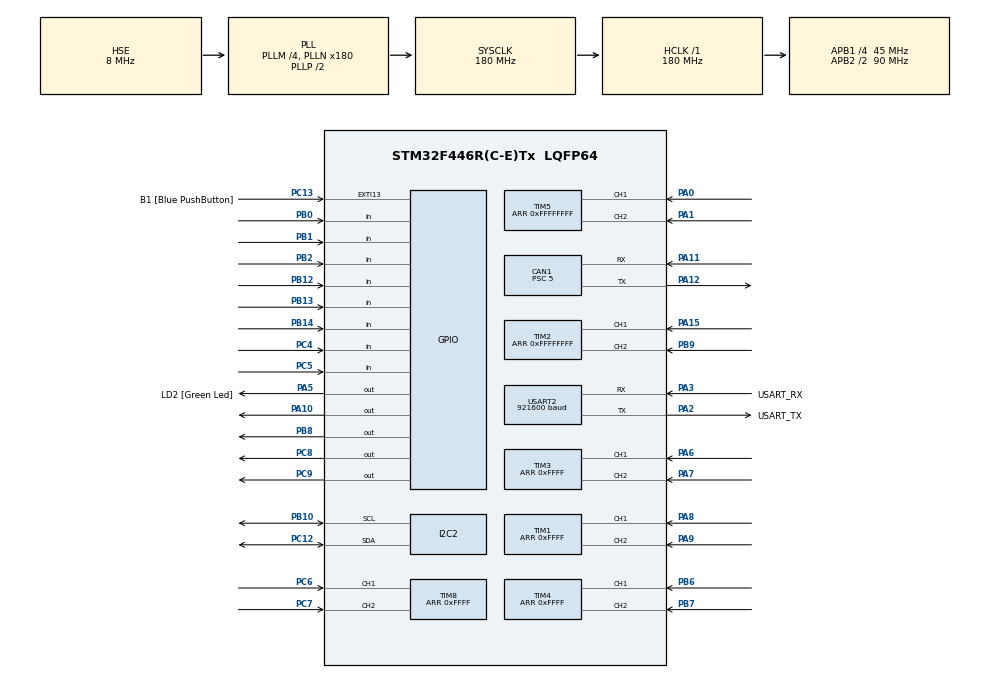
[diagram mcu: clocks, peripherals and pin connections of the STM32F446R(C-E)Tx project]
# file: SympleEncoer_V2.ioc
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CAN1.ABOM=ENABLE
CAN1.BS1=CAN_BS1_7TQ
CAN1.CalculateTimeQuantum=111.11111111111111
CAN1.Prescaler=5
CAN1.TXFP=ENABLE
Dma.I2C2_RX.0.Direction=DMA_PERIPH_TO_MEMORY
Dma.I2C2_RX.0.FIFOMode=DMA_FIFOMODE_DISABLE
Dma.I2C2_RX.0.Instance=DMA1_Stream2
Dma.I2C2_RX.0.MemDataAlignment=DMA_MDATAALIGN_BYTE
Dma.I2C2_RX.0.MemInc=DMA_MINC_ENABLE
Dma.I2C2_RX.0.Mode=DMA_NORMAL
Dma.I2C2_RX.0.PeriphDataAlignment=DMA_PDATAALIGN_BYTE
Dma.I2C2_RX.0.PeriphInc=DMA_PINC_DISABLE
Dma.I2C2_RX.0.Priority=DMA_PRIORITY_LOW
Dma.Request0=I2C2_RX
I2C2.I2C_Mode=I2C_Fast
Mcu.Family=STM32F4
Mcu.Name=STM32F446R(C-E)Tx
Mcu.Package=LQFP64
NVIC.CAN1_RX0_IRQn=true\:0\:2\:true\:false\:true\:true\:true
NVIC.CAN1_RX1_IRQn=true\:0\:2\:false\:false\:true\:true\:true
NVIC.CAN1_SCE_IRQn=true\:0\:0\:false\:false\:true\:true\:true
NVIC.DMA1_Stream2_IRQn=true\:0\:0\:false\:false\:true\:false\:true
NVIC.I2C2_ER_IRQn=true\:0\:0\:false\:false\:true\:true\:true
NVIC.I2C2_EV_IRQn=true\:0\:3\:false\:false\:true\:true\:true
NVIC.PriorityGroup=NVIC_PRIORITYGROUP_0
NVIC.TIM6_DAC_IRQn=true\:0\:0\:false\:false\:true\:true\:true
NVIC.TIM7_IRQn=true\:0\:0\:false\:false\:true\:true\:true
NVIC.USART2_IRQn=true\:0\:0\:false\:false\:true\:true\:true
PA0-WKUP.Signal=S_TIM5_CH1
PA1.Signal=S_TIM5_CH2
PA10.Signal=GPIO_Output
PA11.Mode=Master
PA11.Signal=CAN1_RX
PA12.Mode=Master
PA12.Signal=CAN1_TX
PA13.GPIO_Label=TMS
PA13.Mode=Serial_Wire
PA13.Signal=SYS_JTMS-SWDIO
PA14.GPIO_Label=TCK
PA14.Mode=Serial_Wire
PA14.Signal=SYS_JTCK-SWCLK
PA15.Signal=S_TIM2_CH1_ETR
PA2.GPIO_Label=USART_TX
PA2.Mode=Asynchronous
PA2.Signal=USART2_TX
PA3.GPIO_Label=USART_RX
PA3.Mode=Asynchronous
PA3.Signal=USART2_RX
PA5.GPIO_Label=LD2 [Green Led]
PA5.Signal=GPIO_Output
PA6.Signal=S_TIM3_CH1
PA7.Signal=S_TIM3_CH2
PA8.Signal=S_TIM1_CH1
PA9.Signal=S_TIM1_CH2
PB0.GPIO_PuPd=GPIO_PULLUP
PB0.Signal=GPIO_Input
PB1.GPIO_PuPd=GPIO_PULLUP
PB1.Signal=GPIO_Input
PB10.GPIO_PuPdOD=GPIO_NOPULL
PB10.Mode=I2C
PB10.Signal=I2C2_SCL
PB12.GPIO_PuPd=GPIO_PULLUP
PB12.Signal=GPIO_Input
PB13.GPIO_PuPd=GPIO_PULLUP
PB13.Signal=GPIO_Input
PB14.GPIO_PuPd=GPIO_PULLUP
PB14.Signal=GPIO_Input
PB2.GPIO_PuPd=GPIO_PULLUP
PB2.Signal=GPIO_Input
PB3.GPIO_Label=SWO
PB3.Signal=SYS_JTDO-SWO
PB6.Signal=S_TIM4_CH1
PB7.Signal=S_TIM4_CH2
PB8.Signal=GPIO_Output
PB9.Signal=S_TIM2_CH2
PC12.GPIO_PuPdOD=GPIO_NOPULL
PC12.Mode=I2C
PC12.Signal=I2C2_SDA
PC13.GPIO_Label=B1 [Blue PushButton]
PC13.GPIO_ModeDefaultEXTI=GPIO_MODE_IT_FALLING
PC13.Signal=GPXTI13
PC14-OSC32_IN.Mode=LSE-External-Oscillator
PC14-OSC32_IN.Signal=RCC_OSC32_IN
PC15-OSC32_OUT.Mode=LSE-External-Oscillator
PC15-OSC32_OUT.Signal=RCC_OSC32_OUT
PC4.GPIO_PuPd=GPIO_PULLUP
PC4.Signal=GPIO_Input
PC5.GPIO_PuPd=GPIO_PULLUP
PC5.Signal=GPIO_Input
PC6.Signal=S_TIM8_CH1
PC7.Signal=S_TIM8_CH2
PC8.Signal=GPIO_Output
PC9.Signal=GPIO_Output
PH0-OSC_IN.Mode=HSE-External-Oscillator
PH0-OSC_IN.Signal=RCC_OSC_IN
PH1-OSC_OUT.Mode=HSE-External-Oscillator
PH1-OSC_OUT.Signal=RCC_OSC_OUT
ProjectManager.HeapSize=0x200
ProjectManager.StackSize=0x400
ProjectManager.TargetToolchain=STM32CubeIDE
RCC.48MHZClocksFreq_Value=84000000
RCC.AHBFreq_Value=180000000
RCC.APB1CLKDivider=RCC_HCLK_DIV4
RCC.APB1Freq_Value=45000000
RCC.APB1TimFreq_Value=90000000
RCC.APB2CLKDivider=RCC_HCLK_DIV2
RCC.APB2Freq_Value=90000000
RCC.APB2TimFreq_Value=180000000
RCC.CortexFreq_Value=180000000
RCC.FLatency-AdvancedSettings=FLASH_LATENCY_5
RCC.HCLKFreq_Value=180000000
RCC.HSE_VALUE=8000000
RCC.HSI_VALUE=16000000
RCC.PLLM=4
RCC.PLLN=180
RCC.PLLSourceVirtual=RCC_PLLSOURCE_HSE
RCC.SYSCLKFreq_VALUE=180000000
RCC.SYSCLKSource=RCC_SYSCLKSOURCE_PLLCLK
RCC.USBFreq_Value=180000000
RCC.VCOOutputFreq_Value=360000000
SH.S_TIM1_CH1.0=TIM1_CH1,Encoder_Interface
SH.S_TIM1_CH2.0=TIM1_CH2,Encoder_Interface
SH.S_TIM2_CH1_ETR.0=TIM2_CH1,Encoder_Interface
SH.S_TIM2_CH2.0=TIM2_CH2,Encoder_Interface
SH.S_TIM3_CH1.0=TIM3_CH1,Encoder_Interface
SH.S_TIM3_CH2.0=TIM3_CH2,Encoder_Interface
SH.S_TIM4_CH1.0=TIM4_CH1,Encoder_Interface
SH.S_TIM4_CH2.0=TIM4_CH2,Encoder_Interface
SH.S_TIM5_CH1.0=TIM5_CH1,Encoder_Interface
SH.S_TIM5_CH2.0=TIM5_CH2,Encoder_Interface
SH.S_TIM8_CH1.0=TIM8_CH1,Encoder_Interface
SH.S_TIM8_CH2.0=TIM8_CH2,Encoder_Interface
TIM1.EncoderMode=TIM_ENCODERMODE_TI1
TIM1.Period=0xFFFF
TIM2.EncoderMode=TIM_ENCODERMODE_TI12
TIM2.Period=0xFFFFFFFF
TIM3.EncoderMode=TIM_ENCODERMODE_TI1
TIM3.Period=0xFFFF
TIM4.EncoderMode=TIM_ENCODERMODE_TI1
TIM4.Period=0xFFFF
TIM5.EncoderMode=TIM_ENCODERMODE_TI12
TIM5.Period=0xFFFFFFFF
TIM8.EncoderMode=TIM_ENCODERMODE_TI1
TIM8.Period=0xFFFF
USART2.BaudRate=921600
USART2.VirtualMode=VM_ASYNC
VP_TIM6_VS_ClockSourceINT.Mode=Enable_Timer
VP_TIM7_VS_ClockSourceINT.Mode=Enable_Timer
board=NUCLEO-F446RE

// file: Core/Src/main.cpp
/* USER CODE BEGIN Header */
/**
  ******************************************************************************
  * @file           : main.c
  * @brief          : Main program body
  ******************************************************************************
  * @attention
  *
  * <h2><center>&copy; Copyright (c) 2020 STMicroelectronics.
  * All rights reserved.</center></h2>
  *
  * This software component is licensed by ST under BSD 3-Clause license,
  * the "License"; You may not use this file except in compliance with the
  * License. You may obtain a copy of the License at:
  *                        opensource.org/licenses/BSD-3-Clause
  *
  ******************************************************************************
  */
/* USER CODE END Header */

#include "main.h"
#include "can.h"
#include "i2c.h"
#include "tim.h"
#include "usart.h"
#include "gpio.h"

/* USER CODE BEGIN Includes */

#include "LowlayerHandel.hpp"
#include "CAN/CAN.hpp"
#include "Application/Application.hpp"
#include "EncoderSwitch/DefineReadSwitch.h"
#include "InterruptIvent/TimerInterruptCallback.hpp"
#include "EncoderSwitch/Switch.hpp"
#include <stdio.h>
/* USER CODE END Includes */

/* USER CODE BEGIN PTD */
int getmode=0;
/* USER CODE END PTD */

void SystemClock_Config(void);

/* USER CODE BEGIN 0 */
LowlayerHandleTypdef *plow;
Application *App;
extern int getmode;
extern bool IntFlag;
/* USER CODE END 0 */

int main(void)
{
  /* USER CODE BEGIN 1 */
  setbuf(stdout, NULL);
  /* USER CODE END 1 */

  /* MCU Configuration--------------------------------------------------------*/

  /* Reset of all peripherals, Initializes the Flash interface and the Systick. */
  HAL_Init();

  /* USER CODE BEGIN Init */
  int gyrostate = 0;
  /* USER CODE END Init */

  /* Configure the system clock */
  SystemClock_Config();

  /* Initialize all configured peripherals */
  MX_GPIO_Init();
  MX_USART2_UART_Init();
  MX_CAN1_Init();
  HAL_Delay(100);
  MX_I2C2_Init();
  MX_TIM1_Init();
  MX_TIM2_Init();
  MX_TIM3_Init();
  MX_TIM4_Init();
  MX_TIM5_Init();
  MX_TIM6_Init();
  MX_TIM7_Init();
  MX_TIM8_Init();
  /* USER CODE BEGIN 2 */
  getmode = Read_SW7; //自己位置の取得モードの切り替えスイッチ
  LowlayerHandleTypdef hlow;
  FilterConfig(); //CAN RX Filter
  /*********gyro pram**************************/
  hlow.gyro.SetSampleNum(500);//set gyro sampling times
  hlow.gyro.SetCutOffMag(2.5);//set standard deviation for cutoff noise
  gyrostate = hlow.gyro.Init();//gyro init
  /******************************************************/
  plow = &hlow;
  Application app(&hlow);
  App = &app;

  Timer1 LoopInt(&htim6);

  /****init here***********/
  LoopInt.SetLoopTime(5);//set loop time in msec

  LoopInt.Start();
  /* USER CODE END 2 */

  /* Infinite loop */
  while (1)
  {

    /* USER CODE BEGIN 3 */
	  //App->TaskShift();
	  if(IntFlag)
	  {
		  if(getmode==0)//角度と角速度どちらをセットするか選択
		 	  {
		 	  			plow->gyro.SetYawVel();
		 	  			plow->loca->CalcVel();
		 	  }
		 	  else{
		 	  			plow->gyro.SetYaw();
		 	  			plow->loca->countintegral();
		 	  }
		  App->SendLoca();
		  App->SendCount(1);
		  IntFlag=false;
	  }

  }
  /* USER CODE END 3 */
}

void SystemClock_Config(void)
{
  RCC_OscInitTypeDef RCC_OscInitStruct = {0};
  RCC_ClkInitTypeDef RCC_ClkInitStruct = {0};

  /** Configure the main internal regulator output voltage
  */
  __HAL_RCC_PWR_CLK_ENABLE();
  __HAL_PWR_VOLTAGESCALING_CONFIG(PWR_REGULATOR_VOLTAGE_SCALE1);
  /** Initializes the CPU, AHB and APB busses clocks
  */
  RCC_OscInitStruct.OscillatorType = RCC_OSCILLATORTYPE_HSE;
  RCC_OscInitStruct.HSEState = RCC_HSE_ON;
  RCC_OscInitStruct.PLL.PLLState = RCC_PLL_ON;
  RCC_OscInitStruct.PLL.PLLSource = RCC_PLLSOURCE_HSE;
  RCC_OscInitStruct.PLL.PLLM = 4;
  RCC_OscInitStruct.PLL.PLLN = 180;
  RCC_OscInitStruct.PLL.PLLP = RCC_PLLP_DIV2;
  RCC_OscInitStruct.PLL.PLLQ = 2;
  RCC_OscInitStruct.PLL.PLLR = 2;
  if (HAL_RCC_OscConfig(&RCC_OscInitStruct) != HAL_OK)
  {
    Error_Handler();
  }
  /** Activate the Over-Drive mode
  */
  if (HAL_PWREx_EnableOverDrive() != HAL_OK)
  {
    Error_Handler();
  }
  /** Initializes the CPU, AHB and APB busses clocks
  */
  RCC_ClkInitStruct.ClockType = RCC_CLOCKTYPE_HCLK|RCC_CLOCKTYPE_SYSCLK
                              |RCC_CLOCKTYPE_PCLK1|RCC_CLOCKTYPE_PCLK2;
  RCC_ClkInitStruct.SYSCLKSource = RCC_SYSCLKSOURCE_PLLCLK;
  RCC_ClkInitStruct.AHBCLKDivider = RCC_SYSCLK_DIV1;
  RCC_ClkInitStruct.APB1CLKDivider = RCC_HCLK_DIV4;
  RCC_ClkInitStruct.APB2CLKDivider = RCC_HCLK_DIV2;

  if (HAL_RCC_ClockConfig(&RCC_ClkInitStruct, FLASH_LATENCY_5) != HAL_OK)
  {
    Error_Handler();
  }
}

void Error_Handler(void)
{
}

/************************ (C) COPYRIGHT STMicroelectronics *****END OF FILE****/
